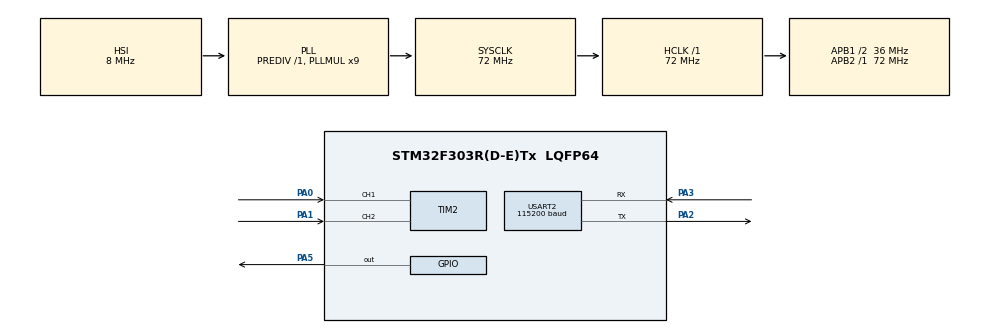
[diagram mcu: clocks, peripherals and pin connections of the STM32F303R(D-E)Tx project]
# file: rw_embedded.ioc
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Dma.Request0=USART2_TX
Dma.Request1=USART2_RX
Dma.USART2_RX.1.Direction=DMA_PERIPH_TO_MEMORY
Dma.USART2_RX.1.Instance=DMA1_Channel6
Dma.USART2_RX.1.MemDataAlignment=DMA_MDATAALIGN_BYTE
Dma.USART2_RX.1.MemInc=DMA_MINC_ENABLE
Dma.USART2_RX.1.Mode=DMA_NORMAL
Dma.USART2_RX.1.PeriphDataAlignment=DMA_PDATAALIGN_BYTE
Dma.USART2_RX.1.PeriphInc=DMA_PINC_DISABLE
Dma.USART2_RX.1.Priority=DMA_PRIORITY_HIGH
Dma.USART2_TX.0.Direction=DMA_MEMORY_TO_PERIPH
Dma.USART2_TX.0.Instance=DMA1_Channel7
Dma.USART2_TX.0.MemDataAlignment=DMA_MDATAALIGN_BYTE
Dma.USART2_TX.0.MemInc=DMA_MINC_ENABLE
Dma.USART2_TX.0.Mode=DMA_NORMAL
Dma.USART2_TX.0.PeriphDataAlignment=DMA_PDATAALIGN_BYTE
Dma.USART2_TX.0.PeriphInc=DMA_PINC_DISABLE
Dma.USART2_TX.0.Priority=DMA_PRIORITY_HIGH
FREERTOS.Tasks01=ros_Task,24,128,rosserial_entry,Default,NULL,Dynamic,NULL,NULL;encoder_Task,24,128,encoder_entry,Default,NULL,Dynamic,NULL,NULL;bldc_Task,24,128,bldc_entry,Default,NULL,Dynamic,NULL,NULL
Mcu.Family=STM32F3
Mcu.Name=STM32F303R(D-E)Tx
Mcu.Package=LQFP64
NVIC.DMA1_Channel6_IRQn=true\:5\:0\:false\:false\:true\:true\:false\:true\:true
NVIC.DMA1_Channel7_IRQn=true\:5\:0\:false\:false\:true\:true\:false\:true\:true
NVIC.PriorityGroup=NVIC_PRIORITYGROUP_4
NVIC.TIM2_IRQn=true\:5\:0\:false\:false\:true\:true\:true\:true\:true
NVIC.TIM6_DAC_IRQn=true\:15\:0\:false\:false\:true\:false\:false\:true\:true
NVIC.TimeBase=TIM6_DAC_IRQn
NVIC.TimeBaseIP=TIM6
NVIC.USART2_IRQn=true\:5\:0\:false\:false\:true\:true\:true\:true\:true
PA0.Signal=S_TIM2_CH1_ETR
PA1.Signal=S_TIM2_CH2
PA13.Mode=Serial_Wire
PA13.Signal=SYS_JTMS-SWDIO
PA14.Mode=Serial_Wire
PA14.Signal=SYS_JTCK-SWCLK
PA2.Mode=Asynchronous
PA2.Signal=USART2_TX
PA3.Mode=Asynchronous
PA3.Signal=USART2_RX
PA5.Signal=GPIO_Output
PF0-OSC_IN.Mode=HSE-External-Oscillator
PF0-OSC_IN.Signal=RCC_OSC_IN
PF1-OSC_OUT.Mode=HSE-External-Oscillator
PF1-OSC_OUT.Signal=RCC_OSC_OUT
ProjectManager.HeapSize=0x200
ProjectManager.StackSize=0x400
ProjectManager.TargetToolchain=STM32CubeIDE
RCC.AHBFreq_Value=72000000
RCC.APB1CLKDivider=RCC_HCLK_DIV2
RCC.APB1Freq_Value=36000000
RCC.APB1TimFreq_Value=72000000
RCC.APB2Freq_Value=72000000
RCC.APB2TimFreq_Value=72000000
RCC.CortexFreq_Value=72000000
RCC.HCLKFreq_Value=72000000
RCC.HSE_VALUE=8000000
RCC.HSI_VALUE=8000000
RCC.LSE_VALUE=32768
RCC.PLLMUL=RCC_PLL_MUL9
RCC.SYSCLKFreq_VALUE=72000000
RCC.SYSCLKSourceVirtual=RCC_SYSCLKSOURCE_PLLCLK
RCC.USBFreq_Value=72000000
SH.S_TIM2_CH1_ETR.0=TIM2_CH1,Encoder_Interface
SH.S_TIM2_CH2.0=TIM2_CH2,Encoder_Interface
TIM2.EncoderMode=TIM_ENCODERMODE_TI12
TIM2.IC1Polarity=TIM_ICPOLARITY_RISING
TIM2.IC2Polarity=TIM_ICPOLARITY_RISING
USART2.BaudRate=115200
USART2.VirtualMode-Asynchronous=VM_ASYNC
VP_FREERTOS_VS_CMSIS_V2.Mode=CMSIS_V2
VP_SYS_VS_tim6.Mode=TIM6
board=custom

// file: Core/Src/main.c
/* USER CODE BEGIN Header */
/**
  ******************************************************************************
  * @file           : main.c
  * @brief          : Main program body
  ******************************************************************************
  * @attention
  *
  * Copyright (c) 2022 STMicroelectronics.
  * All rights reserved.
  *
  * This software is licensed under terms that can be found in the LICENSE file
  * in the root directory of this software component.
  * If no LICENSE file comes with this software, it is provided AS-IS.
  *
  ******************************************************************************
  */
/* USER CODE END Header */
#include "main.h"
#include "cmsis_os.h"

/* USER CODE BEGIN Includes */
#include "mainpp.h"
/* USER CODE END Includes */

 TIM_HandleTypeDef htim2;

UART_HandleTypeDef huart2;
DMA_HandleTypeDef hdma_usart2_tx;
DMA_HandleTypeDef hdma_usart2_rx;

/* Definitions for ros_Task */
osThreadId_t ros_TaskHandle;
const osThreadAttr_t ros_Task_attributes = {
  .name = "ros_Task",
  .stack_size = 128 * 4,
  .priority = (osPriority_t) osPriorityNormal,
};
/* Definitions for encoder_Task */
osThreadId_t encoder_TaskHandle;
const osThreadAttr_t encoder_Task_attributes = {
  .name = "encoder_Task",
  .stack_size = 128 * 4,
  .priority = (osPriority_t) osPriorityNormal,
};
/* Definitions for bldc_Task */
osThreadId_t bldc_TaskHandle;
const osThreadAttr_t bldc_Task_attributes = {
  .name = "bldc_Task",
  .stack_size = 128 * 4,
  .priority = (osPriority_t) osPriorityNormal,
};

void SystemClock_Config(void);
static void MX_GPIO_Init(void);
static void MX_DMA_Init(void);
static void MX_USART2_UART_Init(void);
static void MX_TIM2_Init(void);
void rosserial_entry(void *argument);
void encoder_entry(void *argument);
void bldc_entry(void *argument);

/* USER CODE BEGIN 0 */
int direction;
uint16_t pwm_signal;
/* USER CODE END 0 */

int main(void)
{

  /* MCU Configuration--------------------------------------------------------*/

  /* Reset of all peripherals, Initializes the Flash interface and the Systick. */
  HAL_Init();

  /* Configure the system clock */
  SystemClock_Config();

  /* Initialize all configured peripherals */
  MX_GPIO_Init();
  MX_DMA_Init();
  MX_USART2_UART_Init();
  MX_TIM2_Init();

  /* Init scheduler */
  osKernelInitialize();

  /* Create the thread(s) */
  /* creation of ros_Task */
  ros_TaskHandle = osThreadNew(rosserial_entry, NULL, &ros_Task_attributes);

  /* creation of encoder_Task */
  encoder_TaskHandle = osThreadNew(encoder_entry, NULL, &encoder_Task_attributes);

  /* creation of bldc_Task */
  bldc_TaskHandle = osThreadNew(bldc_entry, NULL, &bldc_Task_attributes);

  /* Start scheduler */
  osKernelStart();

  /* We should never get here as control is now taken by the scheduler */
  /* Infinite loop */
  while (1)
  {

  }
}

void SystemClock_Config(void)
{
  RCC_OscInitTypeDef RCC_OscInitStruct = {0};
  RCC_ClkInitTypeDef RCC_ClkInitStruct = {0};
  RCC_PeriphCLKInitTypeDef PeriphClkInit = {0};

  /** Initializes the RCC Oscillators according to the specified parameters
  * in the RCC_OscInitTypeDef structure.
  */
  RCC_OscInitStruct.OscillatorType = RCC_OSCILLATORTYPE_HSI;
  RCC_OscInitStruct.HSIState = RCC_HSI_ON;
  RCC_OscInitStruct.HSICalibrationValue = RCC_HSICALIBRATION_DEFAULT;
  RCC_OscInitStruct.PLL.PLLState = RCC_PLL_ON;
  RCC_OscInitStruct.PLL.PLLSource = RCC_PLLSOURCE_HSI;
  RCC_OscInitStruct.PLL.PLLMUL = RCC_PLL_MUL9;
  RCC_OscInitStruct.PLL.PREDIV = RCC_PREDIV_DIV1;
  if (HAL_RCC_OscConfig(&RCC_OscInitStruct) != HAL_OK)
  {
    Error_Handler();
  }

  /** Initializes the CPU, AHB and APB buses clocks
  */
  RCC_ClkInitStruct.ClockType = RCC_CLOCKTYPE_HCLK|RCC_CLOCKTYPE_SYSCLK
                              |RCC_CLOCKTYPE_PCLK1|RCC_CLOCKTYPE_PCLK2;
  RCC_ClkInitStruct.SYSCLKSource = RCC_SYSCLKSOURCE_PLLCLK;
  RCC_ClkInitStruct.AHBCLKDivider = RCC_SYSCLK_DIV1;
  RCC_ClkInitStruct.APB1CLKDivider = RCC_HCLK_DIV2;
  RCC_ClkInitStruct.APB2CLKDivider = RCC_HCLK_DIV1;

  if (HAL_RCC_ClockConfig(&RCC_ClkInitStruct, FLASH_LATENCY_2) != HAL_OK)
  {
    Error_Handler();
  }
  PeriphClkInit.PeriphClockSelection = RCC_PERIPHCLK_USART2|RCC_PERIPHCLK_TIM2;
  PeriphClkInit.Usart2ClockSelection = RCC_USART2CLKSOURCE_PCLK1;
  PeriphClkInit.Tim2ClockSelection = RCC_TIM2CLK_HCLK;
  if (HAL_RCCEx_PeriphCLKConfig(&PeriphClkInit) != HAL_OK)
  {
    Error_Handler();
  }
}

static void MX_TIM2_Init(void)
{

  TIM_Encoder_InitTypeDef sConfig = {0};
  TIM_MasterConfigTypeDef sMasterConfig = {0};

  htim2.Instance = TIM2;
  htim2.Init.Prescaler = 0;
  htim2.Init.CounterMode = TIM_COUNTERMODE_UP;
  htim2.Init.Period = 4294967295;
  htim2.Init.ClockDivision = TIM_CLOCKDIVISION_DIV1;
  htim2.Init.AutoReloadPreload = TIM_AUTORELOAD_PRELOAD_DISABLE;
  sConfig.EncoderMode = TIM_ENCODERMODE_TI12;
  sConfig.IC1Polarity = TIM_ICPOLARITY_RISING;
  sConfig.IC1Selection = TIM_ICSELECTION_DIRECTTI;
  sConfig.IC1Prescaler = TIM_ICPSC_DIV1;
  sConfig.IC1Filter = 0;
  sConfig.IC2Polarity = TIM_ICPOLARITY_RISING;
  sConfig.IC2Selection = TIM_ICSELECTION_DIRECTTI;
  sConfig.IC2Prescaler = TIM_ICPSC_DIV1;
  sConfig.IC2Filter = 0;
  if (HAL_TIM_Encoder_Init(&htim2, &sConfig) != HAL_OK)
  {
    Error_Handler();
  }
  sMasterConfig.MasterOutputTrigger = TIM_TRGO_RESET;
  sMasterConfig.MasterSlaveMode = TIM_MASTERSLAVEMODE_DISABLE;
  if (HAL_TIMEx_MasterConfigSynchronization(&htim2, &sMasterConfig) != HAL_OK)
  {
    Error_Handler();
  }

}

static void MX_USART2_UART_Init(void)
{

  huart2.Instance = USART2;
  huart2.Init.BaudRate = 115200;
  huart2.Init.WordLength = UART_WORDLENGTH_8B;
  huart2.Init.StopBits = UART_STOPBITS_1;
  huart2.Init.Parity = UART_PARITY_NONE;
  huart2.Init.Mode = UART_MODE_TX_RX;
  huart2.Init.HwFlowCtl = UART_HWCONTROL_NONE;
  huart2.Init.OverSampling = UART_OVERSAMPLING_16;
  huart2.Init.OneBitSampling = UART_ONE_BIT_SAMPLE_DISABLE;
  huart2.AdvancedInit.AdvFeatureInit = UART_ADVFEATURE_NO_INIT;
  if (HAL_UART_Init(&huart2) != HAL_OK)
  {
    Error_Handler();
  }

}

static void MX_DMA_Init(void)
{

  /* DMA controller clock enable */
  __HAL_RCC_DMA1_CLK_ENABLE();

  /* DMA interrupt init */
  /* DMA1_Channel6_IRQn interrupt configuration */
  HAL_NVIC_SetPriority(DMA1_Channel6_IRQn, 5, 0);
  HAL_NVIC_EnableIRQ(DMA1_Channel6_IRQn);
  /* DMA1_Channel7_IRQn interrupt configuration */
  HAL_NVIC_SetPriority(DMA1_Channel7_IRQn, 5, 0);
  HAL_NVIC_EnableIRQ(DMA1_Channel7_IRQn);

}

static void MX_GPIO_Init(void)
{
  GPIO_InitTypeDef GPIO_InitStruct = {0};

  /* GPIO Ports Clock Enable */
  __HAL_RCC_GPIOF_CLK_ENABLE();
  __HAL_RCC_GPIOA_CLK_ENABLE();

  /*Configure GPIO pin Output Level */
  HAL_GPIO_WritePin(GPIOA, GPIO_PIN_5, GPIO_PIN_RESET);

  /*Configure GPIO pin : PA5 */
  GPIO_InitStruct.Pin = GPIO_PIN_5;
  GPIO_InitStruct.Mode = GPIO_MODE_OUTPUT_PP;
  GPIO_InitStruct.Pull = GPIO_NOPULL;
  GPIO_InitStruct.Speed = GPIO_SPEED_FREQ_LOW;
  HAL_GPIO_Init(GPIOA, &GPIO_InitStruct);

}

void rosserial_entry(void *argument)
{
  /* USER CODE BEGIN 5 */
  setup();
  /* Infinite loop */
  for(;;)
  {
	loop();
	osDelay(5);
	spin();
    direction = get_direction();
    pwm_signal = get_signal();
  }
  /* USER CODE END 5 */
}

/* USER CODE BEGIN Header_encoder_entry */
/**
* @brief Function implementing the encoder_Task thread.
* @param argument: Not used
* @retval None
*/

int32_t counter = 0;

void HAL_TIM_IC_CaptureCallback(TIM_HandleTypeDef *htim) {
  counter = __HAL_TIM_GET_COUNTER(htim);
}
/* USER CODE END Header_encoder_entry */
void encoder_entry(void *argument)
{
  /* USER CODE BEGIN encoder_entry */
	HAL_TIM_Encoder_Start_IT(&htim2, TIM_CHANNEL_ALL);
  /* Infinite loop */
  for(;;)
  {
	update_position(counter*6.7924);
    osDelay(1);
  }
  /* USER CODE END encoder_entry */
}

void bldc_entry(void *argument)
{
  /* USER CODE BEGIN bldc_entry */
  /* Infinite loop */
  for(;;)
  {
	HAL_GPIO_TogglePin(GPIOA, GPIO_PIN_5);
    osDelay(1000);
  }
  /* USER CODE END bldc_entry */
}

void HAL_TIM_PeriodElapsedCallback(TIM_HandleTypeDef *htim)
{
  if (htim->Instance == TIM6) {
    HAL_IncTick();
  }
}

void Error_Handler(void)
{
  __disable_irq();
  while (1)
  {
  }
}
